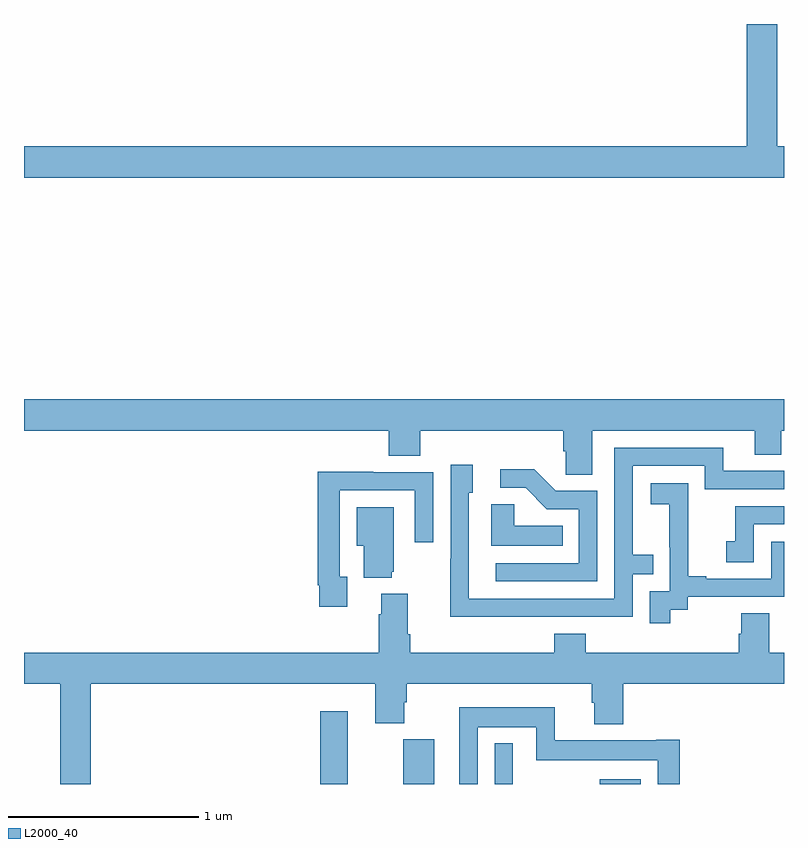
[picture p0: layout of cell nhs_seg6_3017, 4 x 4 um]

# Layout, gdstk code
import gdstk
lib = gdstk.Library(unit=1e-6, precision=1e-09)
def R(c, l, rs):  # rectangles x0, y0, x1, y1
    for r in rs: c.add(gdstk.rectangle(r[:2], r[2:], *l))
def P(c, l, *ps):  # polygons
    for p in ps: c.add(gdstk.Polygon(p, *l))
L2000_40 = (2000, 40)

nhs_seg6_3017 = lib.new_cell('nhs_seg6_3017')
R(nhs_seg6_3017, L2000_40, [(290.558,921.5,290.704,921.883), (290.996,921.5,291.16,921.735), (291.477,921.5,291.573,921.715), (292.031,921.5,292.246,921.526)])
P(nhs_seg6_3017, L2000_40, [(293,924.856),(292.965,924.856),(292.965,925.5),(292.805,925.5),(292.805,924.856),(289,924.856),(289,924.692),(293,924.692)],
  [(291.991,923.36),(292.847,923.36),(292.847,923.233),(292.986,923.233),(292.986,923.36),(293,923.36),(293,923.524),(289,923.524),(289,923.36),(290.921,923.36),(290.921,923.227),(291.086,923.227),(291.086,923.36),(291.839,923.36),(291.839,923.251),(291.852,923.251),(291.852,923.128),(291.991,923.128)],
  [(291.707,922.38),(292.203,922.38),(292.203,922.605),(292.313,922.605),(292.313,922.706),(292.203,922.706),(292.203,923.175),(292.584,923.175),(292.584,923.052),(293,923.052),(293,923.148),(292.681,923.148),(292.681,923.271),(292.107,923.271),(292.107,922.476),(291.342,922.476),(291.342,923.034),(291.361,923.034),(291.361,923.179),(291.246,923.179),(291.246,922.685),(291.244,922.685),(291.244,922.379),(291.707,922.379)],
  [(292.017,923.043),(291.798,923.043),(291.685,923.156),(291.507,923.156),(291.507,923.058),(291.641,923.058),(291.752,922.947),(291.921,922.947),(291.921,922.662),(291.483,922.662),(291.483,922.566),(292.017,922.566)],
  [(290.701,922.59),(290.661,922.59),(290.661,923.046),(291.057,923.046),(291.057,922.773),(291.153,922.773),(291.153,923.142),(290.837,923.142),(290.837,923.144),(290.545,923.144),(290.545,922.546),(290.553,922.546),(290.553,922.434),(290.701,922.434)],
  [(292.402,922.417),(292.494,922.417),(292.494,922.485),(293,922.485),(293,922.776),(292.932,922.776),(292.932,922.581),(292.591,922.581),(292.591,922.594),(292.496,922.594),(292.496,922.877),(292.497,922.877),(292.497,923.083),(292.299,923.083),(292.299,922.973),(292.397,922.973),(292.397,922.745),(292.398,922.745),(292.398,922.515),(292.293,922.515),(292.293,922.347),(292.402,922.347)],
  [(291.836,922.858),(291.579,922.858),(291.579,922.973),(291.458,922.973),(291.458,922.754),(291.836,922.754)],
  [(292.842,922.866),(293,922.866),(293,922.962),(292.744,922.962),(292.744,922.777),(292.695,922.777),(292.695,922.668),(292.842,922.668)],
  [(290.936,922.617),(290.947,922.617),(290.947,922.957),(290.75,922.957),(290.75,922.754),(290.789,922.754),(290.789,922.586),(290.936,922.586)],
  [(289.352,922.028),(290.849,922.028),(290.849,921.82),(291.001,921.82),(291.001,921.929),(291.014,921.929),(291.014,922.028),(291.989,922.028),(291.989,921.927),(292.001,921.927),(292.001,921.815),(292.154,921.815),(292.154,922.028),(293,922.028),(293,922.192),(292.923,922.192),(292.923,922.4),(292.775,922.4),(292.775,922.29),(292.763,922.29),(292.763,922.192),(291.956,922.192),(291.956,922.291),(291.791,922.291),(291.791,922.192),(291.032,922.192),(291.032,922.288),(291.019,922.288),(291.019,922.501),(290.879,922.501),(290.879,922.394),(290.867,922.394),(290.867,922.192),(289,922.192),(289,922.028),(289.192,922.028),(289.192,921.5),(289.352,921.5)],
  [(291.387,921.8),(291.696,921.8),(291.696,921.626),(292.335,921.626),(292.335,921.5),(292.451,921.5),(292.451,921.733),(292.328,921.733),(292.328,921.73),(291.794,921.73),(291.794,921.904),(291.29,921.904),(291.29,921.5),(291.387,921.5)])

lib.write_gds('nhs_seg6_3017.gds')
